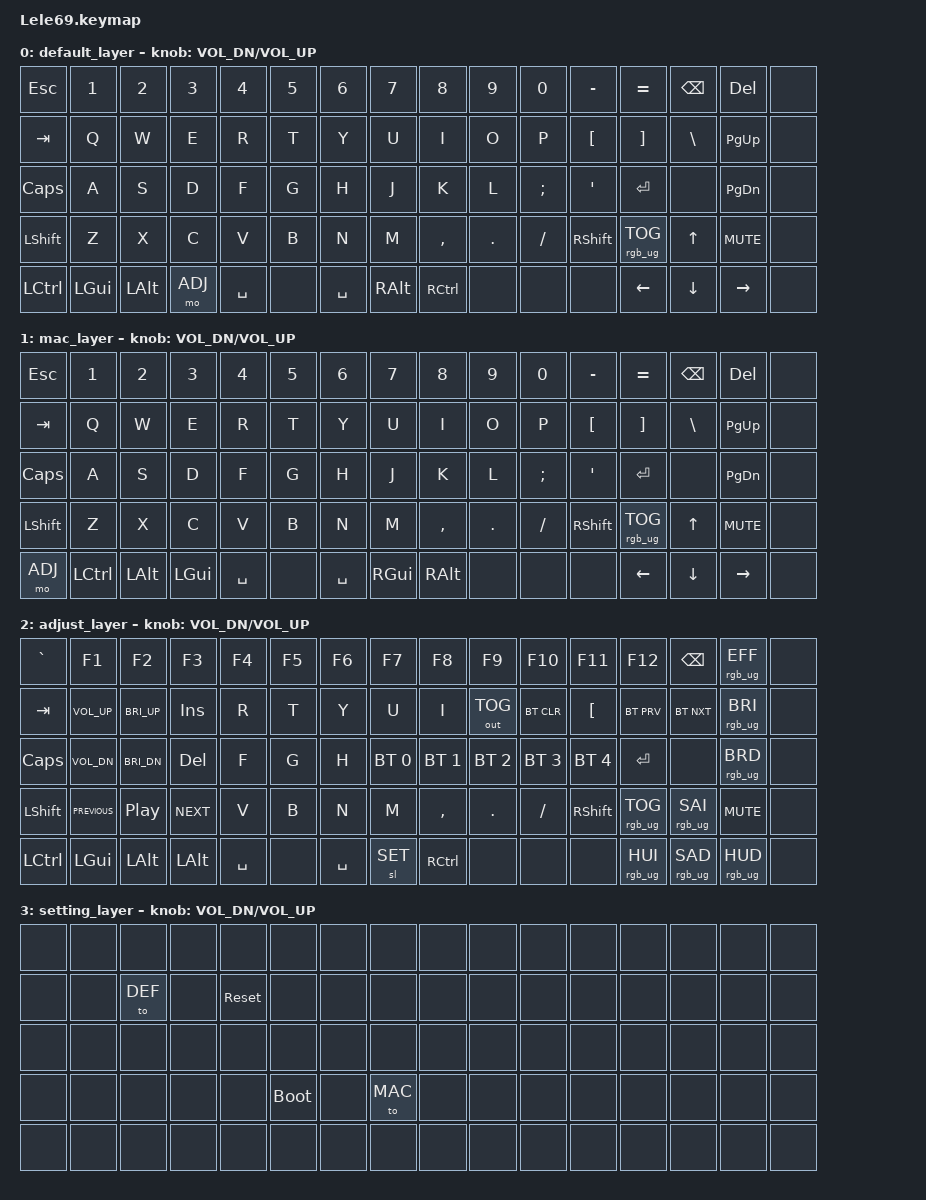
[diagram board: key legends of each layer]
#include <behaviors.dtsi>
#include <dt-bindings/zmk/keys.h>
#include <dt-bindings/zmk/bt.h>
#include <dt-bindings/zmk/outputs.h>
#include <dt-bindings/zmk/rgb.h>
#include <dt-bindings/zmk/ext_power.h>

#define DEF 0
#define MAC 1
#define ADJ 2
#define SET 3

/ {
    keymap {
        compatible = "zmk,keymap";

        default_layer {
bindings = <
&kp ESC   &kp N1   &kp N2   &kp N3   &kp N4    &kp N5  &kp N6    &kp N7     &kp N8    &kp N9    &kp N0   &kp MINUS  &kp EQUAL       &kp BSPC       &kp DELETE          &none
&kp TAB   &kp Q    &kp W    &kp E    &kp R     &kp T   &kp Y     &kp U      &kp I     &kp  O    &kp P    &kp LBKT   &kp RBKT        &kp BSLH       &kp PG_UP           &none        
&kp CLCK  &kp A    &kp S    &kp D    &kp F     &kp G   &kp H     &kp J      &kp K     &kp  L    &kp SEMI &kp SQT    &kp RET         &none          &kp PG_DN           &none         
&kp LSHFT &kp Z    &kp X    &kp C    &kp V     &kp B   &kp N     &kp M      &kp COMMA &kp DOT   &kp FSLH &kp RSHFT  &rgb_ug RGB_TOG &kp UP_ARROW   &kp C_MUTE          &none    
&kp LCTRL &kp LGUI &kp LALT &mo ADJ  &kp SPACE &none   &kp SPACE &kp  RALT  &kp RCTRL  &none     &none    &none      &kp LEFT_ARROW  &kp DOWN_ARROW &kp RIGHT_ARROW     &none
>;
sensor-bindings = <&inc_dec_kp C_VOL_DN C_VOL_UP>;
        };

        mac_layer {
bindings = <
&kp ESC   &kp N1   &kp N2   &kp N3   &kp N4    &kp N5  &kp N6    &kp N7     &kp N8    &kp N9    &kp N0   &kp MINUS  &kp EQUAL       &kp BSPC       &kp DELETE          &none
&kp TAB   &kp Q    &kp W    &kp E    &kp R     &kp T   &kp Y     &kp U      &kp I     &kp  O    &kp P    &kp LBKT   &kp RBKT        &kp BSLH       &kp PG_UP           &none        
&kp CLCK  &kp A    &kp S    &kp D    &kp F     &kp G   &kp H     &kp J      &kp K     &kp  L    &kp SEMI &kp SQT    &kp RET         &none          &kp PG_DN           &none         
&kp LSHFT &kp Z    &kp X    &kp C    &kp V     &kp B   &kp N     &kp M      &kp COMMA &kp DOT   &kp FSLH &kp RSHFT  &rgb_ug RGB_TOG &kp UP_ARROW   &kp C_MUTE          &none    
&mo ADJ  &kp LCTRL &kp LALT &kp LGUI   &kp SPACE &none   &kp SPACE &kp RGUI &kp RALT  &none     &none    &none      &kp LEFT_ARROW  &kp DOWN_ARROW &kp RIGHT_ARROW     &none
>;
sensor-bindings = <&inc_dec_kp C_VOL_DN C_VOL_UP>;
        };

        adjust_layer {
bindings = <
&kp GRAV  &kp F1   &kp F2   &kp F3   &kp F4    &kp F5  &kp F6    &kp F7   &kp F8    &kp F9    &kp F10  &kp F11    &kp F12         &kp BSPC              &rgb_ug RGB_EFF          &none
&kp TAB    &kp C_VOL_UP  &kp C_BRI_UP  &kp INS   &kp R   &kp T   &kp Y  &kp U      &kp I     &out OUT_TOG    &bt BT_CLR &kp LBKT &bt BT_PRV &bt BT_NXT  &rgb_ug RGB_BRI          &none    
&kp CLCK    &kp C_VOL_DN  &kp C_BRI_DN  &kp DEL   &kp F   &kp G   &kp H  &bt BT_SEL 0 &bt BT_SEL 1 &bt BT_SEL 2 &bt BT_SEL 3 &bt BT_SEL 4     &kp RET   &none   &rgb_ug RGB_BRD  &none   
&kp LSHFT  &kp C_PREVIOUS  &kp C_PLAY_PAUSE  &kp C_NEXT &kp V  &kp B  &kp N   &kp M   &kp COMMA  &kp DOT  &kp FSLH &kp RSHFT  &rgb_ug RGB_TOG &rgb_ug RGB_SAI  &kp C_MUTE        &none    
&kp LCTRL &kp LGUI &kp LALT &kp LALT &kp SPACE &none   &kp SPACE &sl SET  &kp RCTRL  &none     &none    &none      &rgb_ug RGB_HUI    &rgb_ug RGB_SAD &rgb_ug RGB_HUD             &none
>;
sensor-bindings = <&inc_dec_kp C_VOL_DN C_VOL_UP>;
        };

        setting_layer {
bindings = <
&none  &none  &none  &none  &none  &none  &none  &none  &none  &none  &none  &none  &none  &none  &none  &none
&none  &none  &to DEF  &none  &sys_reset &none  &none  &none  &none  &none  &none  &none  &none  &none  &none  &none    
&none  &none  &none  &none  &none  &none  &none  &none  &none  &none  &none  &none  &none  &none  &none  &none   
&none  &none  &none  &none  &none  &bootloader  &none  &to MAC &none  &none  &none  &none  &none  &none  &none  &none    
&none  &none  &none  &none  &none  &none  &none  &none  &none  &none  &none  &none  &none  &none  &none  &none
>;
sensor-bindings = <&inc_dec_kp C_VOL_DN C_VOL_UP>;
        };
    };
};
